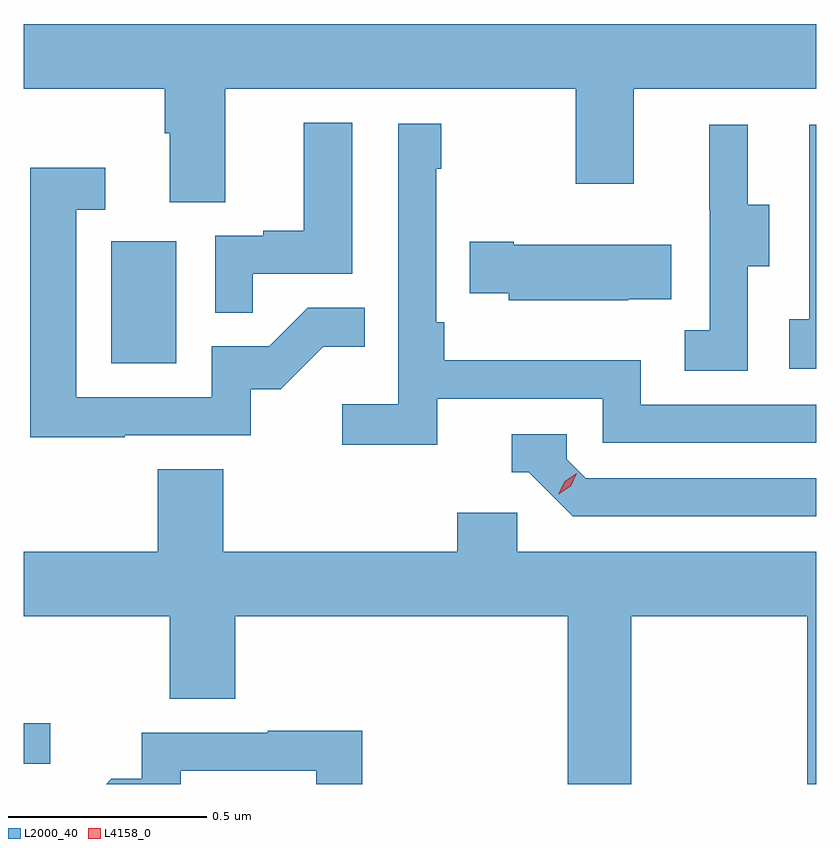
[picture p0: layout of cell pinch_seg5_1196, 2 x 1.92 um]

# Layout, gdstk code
import gdstk
lib = gdstk.Library(unit=1e-6, precision=1e-09)
def R(c, l, rs):  # rectangles x0, y0, x1, y1
    for r in rs: c.add(gdstk.rectangle(r[:2], r[2:], *l))
def P(c, l, *ps):  # polygons
    for p in ps: c.add(gdstk.Polygon(p, *l))
L2000_40 = (2000, 40)
L4158_0 = (4158, 0)

pinch_seg5_1196 = lib.new_cell('pinch_seg5_1196')
R(pinch_seg5_1196, L2000_40, [(841.755,836.408,841.822,836.51), (841.976,837.42,842.14,837.727)])
P(pinch_seg5_1196, L2000_40, [(842.263,838.112),(843.148,838.112),(843.148,837.873),(843.295,837.873),(843.295,838.112),(843.755,838.112),(843.755,838.276),(841.755,838.276),(841.755,838.112),(842.111,838.112),(842.111,838),(842.123,838),(842.123,837.826),(842.263,837.826)],
  [(842.333,837.645),(842.584,837.645),(842.584,838.027),(842.462,838.027),(842.462,837.754),(842.359,837.754),(842.359,837.741),(842.238,837.741),(842.238,837.547),(842.333,837.547)],
  [(842.798,837.33),(843.216,837.33),(843.216,837.219),(843.755,837.219),(843.755,837.315),(843.312,837.315),(843.312,837.427),(842.816,837.427),(842.816,837.523),(842.796,837.523),(842.796,837.911),(842.809,837.911),(842.809,838.024),(842.7,838.024),(842.7,837.316),(842.559,837.316),(842.559,837.214),(842.798,837.214)],
  [(843.755,838.021),(843.738,838.021),(843.738,837.53),(843.687,837.53),(843.687,837.405),(843.755,837.405)],
  [(843.582,837.664),(843.637,837.664),(843.637,837.819),(843.583,837.819),(843.583,838.021),(843.485,838.021),(843.485,837.807),(843.486,837.807),(843.486,837.503),(843.423,837.503),(843.423,837.4),(843.582,837.4)],
  [(842.009,837.237),(842.328,837.237),(842.328,837.354),(842.404,837.354),(842.511,837.461),(842.615,837.461),(842.615,837.56),(842.472,837.56),(842.374,837.462),(842.229,837.462),(842.229,837.333),(841.887,837.333),(841.887,837.807),(841.96,837.807),(841.96,837.913),(841.771,837.913),(841.771,837.232),(842.009,837.232)],
  [(843.281,837.581),(843.389,837.581),(843.389,837.718),(842.992,837.718),(842.992,837.726),(842.881,837.726),(842.881,837.596),(842.979,837.596),(842.979,837.578),(843.281,837.578)],
  [(843.755,837.129),(843.174,837.129),(843.126,837.177),(843.126,837.24),(842.987,837.24),(842.987,837.144),(843.03,837.144),(843.141,837.033),(843.755,837.033)],
  [(843.288,836.78),(843.733,836.78),(843.733,836.357),(843.755,836.357),(843.755,836.944),(843,836.944),(843,837.042),(842.849,837.042),(842.849,836.944),(842.258,836.944),(842.258,837.152),(842.093,837.152),(842.093,836.944),(841.755,836.944),(841.755,836.78),(842.123,836.78),(842.123,836.572),(842.288,836.572),(842.288,836.78),(843.128,836.78),(843.128,836.357),(843.288,836.357)],
  [(842.151,836.391),(842.493,836.391),(842.493,836.357),(842.609,836.357),(842.609,836.492),(842.371,836.492),(842.371,836.487),(842.053,836.487),(842.053,836.37),(841.976,836.37),(841.963,836.357),(842.151,836.357)])
P(pinch_seg5_1196, L4158_0, [(843.105,837.089),(843.105,837.09),(843.12,837.122),(843.151,837.142),(843.151,837.142),(843.151,837.142),(843.136,837.109),(843.105,837.089)])

lib.write_gds('pinch_seg5_1196.gds')
